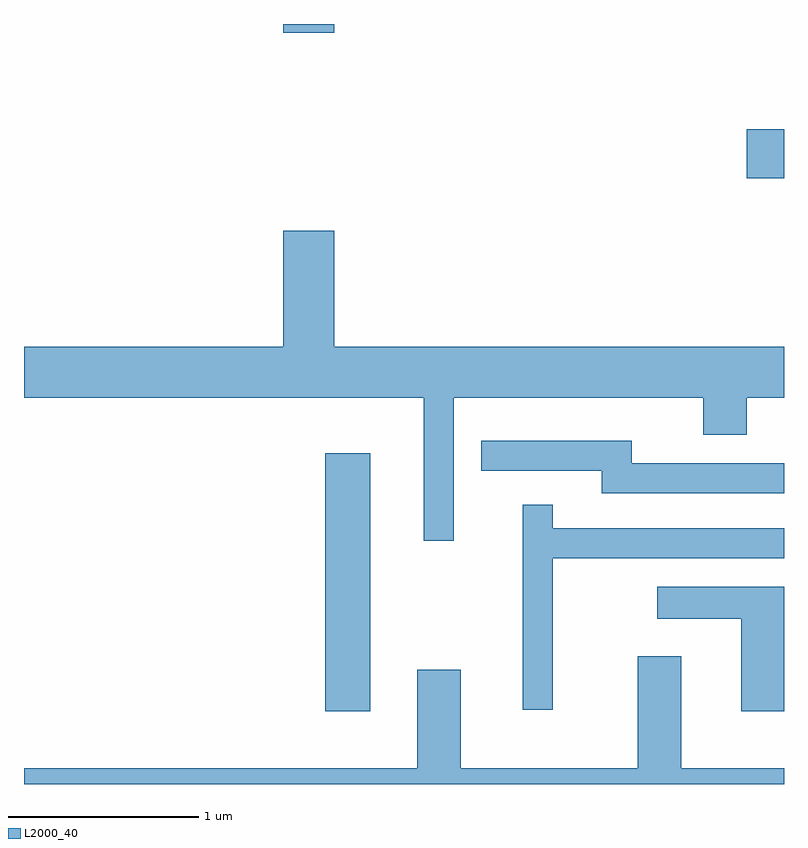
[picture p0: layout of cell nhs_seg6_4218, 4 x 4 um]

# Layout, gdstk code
import gdstk
lib = gdstk.Library(unit=1e-6, precision=1e-09)
def R(c, l, rs):  # rectangles x0, y0, x1, y1
    for r in rs: c.add(gdstk.rectangle(r[:2], r[2:], *l))
def P(c, l, *ps):  # polygons
    for p in ps: c.add(gdstk.Polygon(p, *l))
L2000_40 = (2000, 40)

nhs_seg6_4218 = lib.new_cell('nhs_seg6_4218')
R(nhs_seg6_4218, L2000_40, [(315.196,1610.546,315.434,1611.904), (317.416,1613.351,317.611,1613.609), (314.976,1614.116,315.244,1614.162)])
P(nhs_seg6_4218, L2000_40, [(315.874,1612.196),(317.186,1612.196),(317.186,1612.001),(317.414,1612.001),(317.414,1612.196),(317.611,1612.196),(317.611,1612.464),(315.244,1612.464),(315.244,1613.074),(314.976,1613.074),(314.976,1612.464),(313.611,1612.464),(313.611,1612.196),(315.716,1612.196),(315.716,1611.443),(315.874,1611.443)],
  [(317.611,1611.849),(316.809,1611.849),(316.809,1611.969),(316.018,1611.969),(316.018,1611.811),(316.651,1611.811),(316.651,1611.691),(317.611,1611.691)],
  [(316.394,1611.351),(317.611,1611.351),(317.611,1611.509),(316.394,1611.509),(316.394,1611.633),(316.236,1611.633),(316.236,1610.553),(316.394,1610.553)],
  [(317.611,1611.199),(316.943,1611.199),(316.943,1611.031),(317.386,1611.031),(317.386,1610.546),(317.611,1610.546)],
  [(317.611,1610.244),(317.069,1610.244),(317.069,1610.834),(316.841,1610.834),(316.841,1610.244),(315.909,1610.244),(315.909,1610.764),(315.681,1610.764),(315.681,1610.244),(313.611,1610.244),(313.611,1610.162),(317.611,1610.162)])

lib.write_gds('nhs_seg6_4218.gds')
